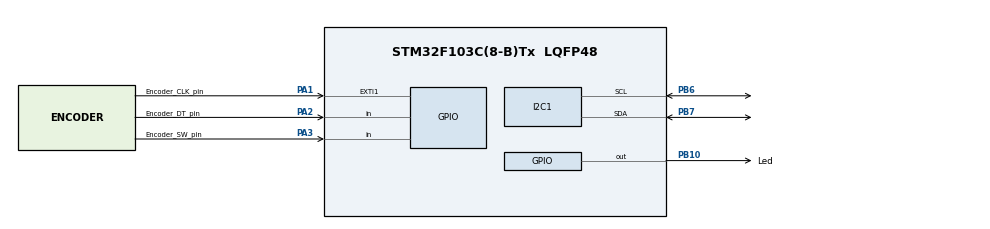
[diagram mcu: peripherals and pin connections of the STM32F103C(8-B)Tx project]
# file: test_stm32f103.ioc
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FREERTOS.Events01=systemEventsHandle,Dynamic,NULL
FREERTOS.Tasks01=inputTask,40,128,StartInputTask,Default,NULL,Dynamic,NULL,NULL;uiTask,24,512,StartUiTask,Default,NULL,Dynamic,NULL,NULL
FREERTOS.configTOTAL_HEAP_SIZE=10240
I2C1.I2C_Mode=I2C_Standard
Mcu.Family=STM32F1
Mcu.Name=STM32F103C(8-B)Tx
Mcu.Package=LQFP48
NVIC.EXTI1_IRQn=true\:5\:0\:false\:false\:true\:true\:true\:true\:true
NVIC.PriorityGroup=NVIC_PRIORITYGROUP_4
NVIC.TIM1_UP_IRQn=true\:15\:0\:false\:false\:true\:false\:false\:true\:true
NVIC.TimeBase=TIM1_UP_IRQn
NVIC.TimeBaseIP=TIM1
PA1.GPIO_Label=Encoder_CLK_pin
PA1.GPIO_PuPd=GPIO_PULLUP
PA1.Signal=GPXTI1
PA13.Mode=JTAG_4_pins
PA13.Signal=SYS_JTMS-SWDIO
PA14.Mode=JTAG_4_pins
PA14.Signal=SYS_JTCK-SWCLK
PA15.Mode=JTAG_4_pins
PA15.Signal=SYS_JTDI
PA2.GPIO_Label=Encoder_DT_pin
PA2.GPIO_PuPd=GPIO_PULLUP
PA2.Signal=GPIO_Input
PA3.GPIO_Label=Encoder_SW_pin
PA3.GPIO_PuPd=GPIO_PULLUP
PA3.Signal=GPIO_Input
PB10.GPIO_Label=Led
PB10.Signal=GPIO_Output
PB3.Mode=JTAG_4_pins
PB3.Signal=SYS_JTDO-TRACESWO
PB6.Mode=I2C
PB6.Signal=I2C1_SCL
PB7.Mode=I2C
PB7.Signal=I2C1_SDA
ProjectManager.HeapSize=0x200
ProjectManager.StackSize=0x400
ProjectManager.TargetToolchain=CMake
RCC.APB1Freq_Value=8000000
RCC.APB2Freq_Value=8000000
VP_FREERTOS_VS_CMSIS_V2.Mode=CMSIS_V2
VP_SYS_VS_tim1.Mode=TIM1
board=custom

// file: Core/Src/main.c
/* USER CODE BEGIN Header */
/**
  ******************************************************************************
  * @file           : main.c
  * @brief          : Main program body
  ******************************************************************************
  * @attention
  *
  * Copyright (c) 2026 STMicroelectronics.
  * All rights reserved.
  *
  * This software is licensed under terms that can be found in the LICENSE file
  * in the root directory of this software component.
  * If no LICENSE file comes with this software, it is provided AS-IS.
  *
  ******************************************************************************
  */
/* USER CODE END Header */
#include "main.h"
#include "cmsis_os.h"

/* USER CODE BEGIN Includes */
#include <stdio.h>

#include "rotary_encoder.h"
#include "ssd1306.h"
#include "system_menu.h"
/* USER CODE END Includes */

/* USER CODE BEGIN PD */
#define UPDATE_DISPLAY_MASK 1 << 0 //0x01
#define ENCODER_MOVED_MASK 1 << 1 //0x02
#define BUTTON_PRESSED_MASK 1 << 2 //0x04
/* USER CODE END PD */

I2C_HandleTypeDef hi2c1;

/* Definitions for inputTask */
osThreadId_t inputTaskHandle;
const osThreadAttr_t inputTask_attributes = {
  .name = "inputTask",
  .stack_size = 128 * 4,
  .priority = (osPriority_t) osPriorityHigh,
};
/* Definitions for uiTask */
osThreadId_t uiTaskHandle;
const osThreadAttr_t uiTask_attributes = {
  .name = "uiTask",
  .stack_size = 512 * 4,
  .priority = (osPriority_t) osPriorityNormal,
};
/* Definitions for systemEventsHandle */
osEventFlagsId_t systemEventsHandleHandle;
const osEventFlagsAttr_t systemEventsHandle_attributes = {
  .name = "systemEventsHandle"
};
/* USER CODE BEGIN PV */
RotaryEncoder_TypeDef rotaryEncoder;
FontDef systemLanguage;
/* USER CODE END PV */

void SystemClock_Config(void);
static void MX_GPIO_Init(void);
static void MX_I2C1_Init(void);
void StartInputTask(void *argument);
void StartUiTask(void *argument);

/* USER CODE BEGIN PFP */
void drawCircle(void)
{
  for (int16_t i = 0; i < ssd1306_GetHeight(); i += 2)
  {
    ssd1306_DrawCircle(ssd1306_GetWidth() / 2, ssd1306_GetHeight() / 2, i);
    ssd1306_UpdateScreen();
    HAL_Delay(10);
  }
  HAL_Delay(1000);
  ssd1306_Clear();
}
/* USER CODE END PFP */

int main(void)
{

  /* MCU Configuration--------------------------------------------------------*/

  /* Reset of all peripherals, Initializes the Flash interface and the Systick. */
  HAL_Init();

  /* Configure the system clock */
  SystemClock_Config();

  /* Initialize all configured peripherals */
  MX_GPIO_Init();
  MX_I2C1_Init();
  /* USER CODE BEGIN 2 */

  ssd1306_Init();
  ssd1306_FlipScreenVertically();
  ssd1306_Clear();
  ssd1306_SetColor(White);
  systemLanguage = Font_7x10;

  RotaryEncoder_Init(
    &rotaryEncoder,
    Encoder_CLK_pin_GPIO_Port,
    Encoder_CLK_pin_Pin,
    Encoder_DT_pin_GPIO_Port,
    Encoder_DT_pin_Pin,
    Encoder_SW_pin_GPIO_Port,
    Encoder_SW_pin_Pin
    );

  menu_init(&rotaryEncoder);
  menu_page_Render();
  ssd1306_UpdateScreen();

  /* USER CODE END 2 */

  /* Init scheduler */
  osKernelInitialize();

  /* Create the thread(s) */
  /* creation of inputTask */
  inputTaskHandle = osThreadNew(StartInputTask, NULL, &inputTask_attributes);

  /* creation of uiTask */
  uiTaskHandle = osThreadNew(StartUiTask, NULL, &uiTask_attributes);

  /* Create the event(s) */
  /* creation of systemEventsHandle */
  systemEventsHandleHandle = osEventFlagsNew(&systemEventsHandle_attributes);

  /* Start scheduler */
  osKernelStart();

  /* We should never get here as control is now taken by the scheduler */

  /* Infinite loop */
  while (1)
  {

  }
}

void SystemClock_Config(void)
{
  RCC_OscInitTypeDef RCC_OscInitStruct = {0};
  RCC_ClkInitTypeDef RCC_ClkInitStruct = {0};

  /** Initializes the RCC Oscillators according to the specified parameters
  * in the RCC_OscInitTypeDef structure.
  */
  RCC_OscInitStruct.OscillatorType = RCC_OSCILLATORTYPE_HSI;
  RCC_OscInitStruct.HSIState = RCC_HSI_ON;
  RCC_OscInitStruct.HSICalibrationValue = RCC_HSICALIBRATION_DEFAULT;
  RCC_OscInitStruct.PLL.PLLState = RCC_PLL_NONE;
  if (HAL_RCC_OscConfig(&RCC_OscInitStruct) != HAL_OK)
  {
    Error_Handler();
  }

  /** Initializes the CPU, AHB and APB buses clocks
  */
  RCC_ClkInitStruct.ClockType = RCC_CLOCKTYPE_HCLK|RCC_CLOCKTYPE_SYSCLK
                              |RCC_CLOCKTYPE_PCLK1|RCC_CLOCKTYPE_PCLK2;
  RCC_ClkInitStruct.SYSCLKSource = RCC_SYSCLKSOURCE_HSI;
  RCC_ClkInitStruct.AHBCLKDivider = RCC_SYSCLK_DIV1;
  RCC_ClkInitStruct.APB1CLKDivider = RCC_HCLK_DIV1;
  RCC_ClkInitStruct.APB2CLKDivider = RCC_HCLK_DIV1;

  if (HAL_RCC_ClockConfig(&RCC_ClkInitStruct, FLASH_LATENCY_0) != HAL_OK)
  {
    Error_Handler();
  }
}

static void MX_I2C1_Init(void)
{

  hi2c1.Instance = I2C1;
  hi2c1.Init.ClockSpeed = 100000;
  hi2c1.Init.DutyCycle = I2C_DUTYCYCLE_2;
  hi2c1.Init.OwnAddress1 = 0;
  hi2c1.Init.AddressingMode = I2C_ADDRESSINGMODE_7BIT;
  hi2c1.Init.DualAddressMode = I2C_DUALADDRESS_DISABLE;
  hi2c1.Init.OwnAddress2 = 0;
  hi2c1.Init.GeneralCallMode = I2C_GENERALCALL_DISABLE;
  hi2c1.Init.NoStretchMode = I2C_NOSTRETCH_DISABLE;
  if (HAL_I2C_Init(&hi2c1) != HAL_OK)
  {
    Error_Handler();
  }

}

static void MX_GPIO_Init(void)
{
  GPIO_InitTypeDef GPIO_InitStruct = {0};

  /* GPIO Ports Clock Enable */
  __HAL_RCC_GPIOA_CLK_ENABLE();
  __HAL_RCC_GPIOB_CLK_ENABLE();

  /*Configure GPIO pin Output Level */
  HAL_GPIO_WritePin(Led_GPIO_Port, Led_Pin, GPIO_PIN_RESET);

  /*Configure GPIO pin : Encoder_CLK_pin_Pin */
  GPIO_InitStruct.Pin = Encoder_CLK_pin_Pin;
  GPIO_InitStruct.Mode = GPIO_MODE_IT_RISING;
  GPIO_InitStruct.Pull = GPIO_PULLUP;
  HAL_GPIO_Init(Encoder_CLK_pin_GPIO_Port, &GPIO_InitStruct);

  /*Configure GPIO pins : Encoder_DT_pin_Pin Encoder_SW_pin_Pin */
  GPIO_InitStruct.Pin = Encoder_DT_pin_Pin|Encoder_SW_pin_Pin;
  GPIO_InitStruct.Mode = GPIO_MODE_INPUT;
  GPIO_InitStruct.Pull = GPIO_PULLUP;
  HAL_GPIO_Init(GPIOA, &GPIO_InitStruct);

  /*Configure GPIO pin : Led_Pin */
  GPIO_InitStruct.Pin = Led_Pin;
  GPIO_InitStruct.Mode = GPIO_MODE_OUTPUT_PP;
  GPIO_InitStruct.Pull = GPIO_NOPULL;
  GPIO_InitStruct.Speed = GPIO_SPEED_FREQ_LOW;
  HAL_GPIO_Init(Led_GPIO_Port, &GPIO_InitStruct);

  /* EXTI interrupt init*/
  HAL_NVIC_SetPriority(EXTI1_IRQn, 5, 0);
  HAL_NVIC_EnableIRQ(EXTI1_IRQn);

}

/* USER CODE BEGIN 4 */
void HAL_GPIO_EXTI_Callback(uint16_t GPIO_Pin) {
  if (GPIO_Pin == Encoder_CLK_pin_Pin) {
    RotaryEncoder_Exti_CallBack(&rotaryEncoder);
    osEventFlagsSet(systemEventsHandleHandle, ENCODER_MOVED_MASK);
  }
}
/* USER CODE END 4 */

void StartInputTask(void *argument)
{
  /* USER CODE BEGIN 5 */
  /* Infinite loop */
  for(;;)
  {
    if (RotaryEncoder_ButtonPressed(&rotaryEncoder)) {
      osEventFlagsSet(systemEventsHandleHandle, BUTTON_PRESSED_MASK);
    }

    osDelay(1);
  }
  /* USER CODE END 5 */
}

void StartUiTask(void *argument)
{
  /* USER CODE BEGIN StartUiTask */
  /* Infinite loop */
  for(;;)
  {
    static char buffer[30];
    uint32_t flags = osEventFlagsWait(systemEventsHandleHandle,BUTTON_PRESSED_MASK | ENCODER_MOVED_MASK, osFlagsWaitAny, osWaitForever);
    ssd1306_Clear();

    if (flags & ENCODER_MOVED_MASK) {
      menu_change_position();

      ssd1306_SetCursor(0, 0);
      int pos_int = (int)(rotaryEncoder.position * 100);
      sprintf(buffer, "Encoder pos: %d.%02d",
        pos_int / 100,
        abs(pos_int % 100));
      //sprintf(buffer, "Encoder pos: %f", rotaryEncoder.position);
      ssd1306_WriteString(buffer, systemLanguage);
    }

    if (flags & BUTTON_PRESSED_MASK) {
      menu_press_button();

      ssd1306_SetCursor(0, 0);
      ssd1306_WriteString("Button pressed!", systemLanguage);
    }

    ssd1306_UpdateScreen();
  }
  /* USER CODE END StartUiTask */
}

void HAL_TIM_PeriodElapsedCallback(TIM_HandleTypeDef *htim)
{
  if (htim->Instance == TIM1)
  {
    HAL_IncTick();
  }
}

void Error_Handler(void)
{
  __disable_irq();
  while (1)
  {
  }
}
